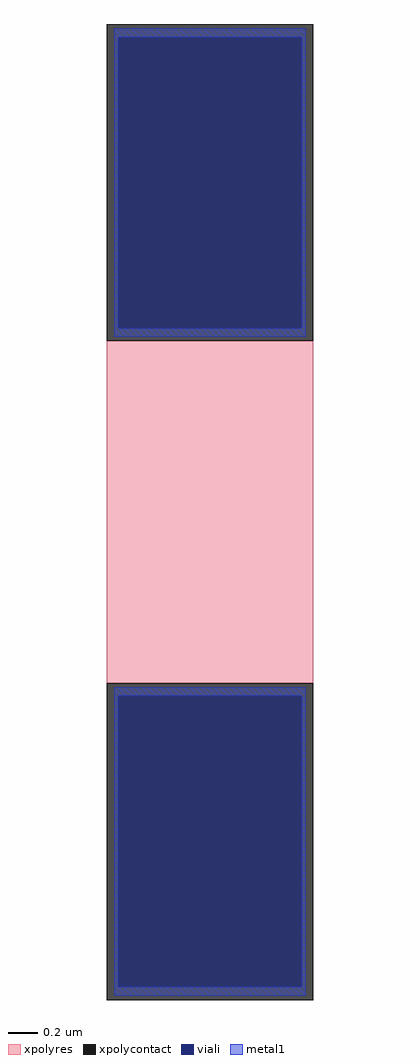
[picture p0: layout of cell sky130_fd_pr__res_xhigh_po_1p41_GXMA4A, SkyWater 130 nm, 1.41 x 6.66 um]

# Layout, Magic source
magic
tech sky130A
magscale 1 2
<< xpolycontact >>
rect -141 234 141 666
rect -141 -666 141 -234
<< xpolyres >>
rect -141 -234 141 234
<< viali >>
rect -125 251 125 648
rect -125 -648 125 -251
<< metal1 >>
rect -131 648 131 660
rect -131 251 -125 648
rect 125 251 131 648
rect -131 239 131 251
rect -131 -251 131 -239
rect -131 -648 -125 -251
rect 125 -648 131 -251
rect -131 -660 131 -648
<< properties >>
string gencell sky130_fd_pr__res_xhigh_po_1p41
string library sky130
string parameters w 1.410 l 2.501 m 1 nx 1 wmin 1.410 lmin 0.50 rho 2000 val 3.814k dummy 0 dw 0.0 term 188.2 sterm 0.0 caplen 0 wmax 1.410 guard 0 glc 1 grc 1 gtc 1 gbc 1 compatible {sky130_fd_pr__res_xhigh_po_0p35  sky130_fd_pr__res_xhigh_po_0p69 sky130_fd_pr__res_xhigh_po_1p41  sky130_fd_pr__res_xhigh_po_2p85 sky130_fd_pr__res_xhigh_po_5p73} snake 0 full_metal 1 n_guard 0 hv_guard 0 vias 1 viagb 0 viagt 0 viagl 0 viagr 0
<< end >>
